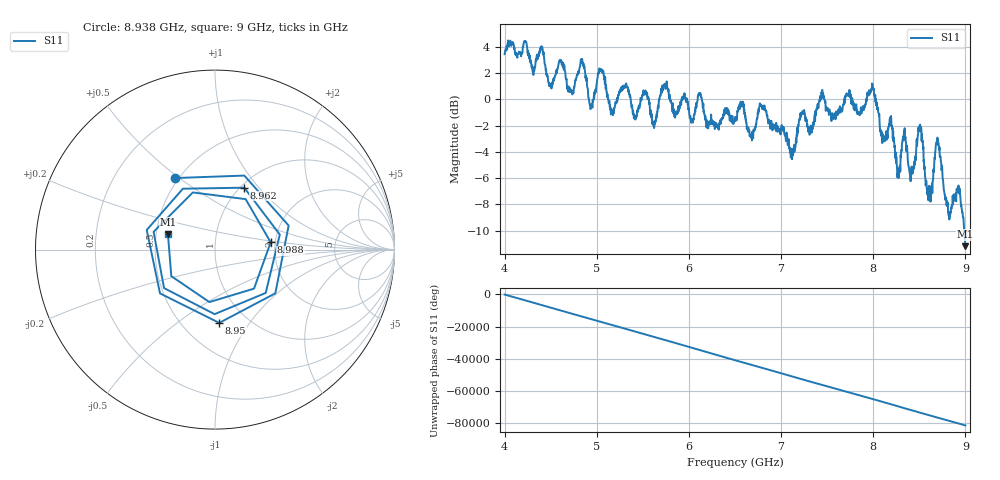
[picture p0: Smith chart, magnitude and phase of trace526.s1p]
! Created with skrf 1.8.0 (http://scikit-rf.org).
# Hz S RI R 50.0
!freq ReS11 ImS11
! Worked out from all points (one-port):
!   1601 points, 4 GHz to 9 GHz, reference 50 ohm
!   lowest |S11| = -11.2 dB at 9 GHz (marker M1), VSWR 1.76, Z = 28.8 + j5.42 ohm
!   |S11| at or under -10 dB: 8.987142 GHz to end of sweep
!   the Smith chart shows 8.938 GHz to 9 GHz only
!   S11 on the Smith chart (normalised r, x): 8.938 GHz: 0.48, +0.48; 8.95 GHz: 0.74, -0.73; 8.962 GHz: 1.04, +0.84; 8.988 GHz: 1.89, +0.17; 9 GHz: 0.58, +0.11
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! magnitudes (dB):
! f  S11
! 4 GHz  3.4
! 4.497 GHz  1.1
! 4.625 GHz  2.7
! 4.722 GHz  0.7
! 4.847 GHz  2.8
! 4.934 GHz  -0.7
! 5.044 GHz  2.3
! 5.166 GHz  -1.0
! 5.25 GHz  0.5
! 5.875 GHz  -0.9
! 6.5 GHz  -1.4
! 6.684 GHz  -3.1
! 6.794 GHz  -0.7
! 7.125 GHz  -4.3
! 7.234 GHz  -0.9
! 7.75 GHz  0.1
! 7.991 GHz  1.1
! 8.269 GHz  -5.7
! 8.375 GHz  -4.6
! 8.509 GHz  -1.9
! 8.606 GHz  -6.6
! 8.697 GHz  -2.9
! 8.812 GHz  -8.6
! 8.938 GHz  -6.8
! 8.95 GHz  -7.8
! 8.962 GHz  -8.4
! 8.988 GHz  -10.1
! 9 GHz  -11.2
